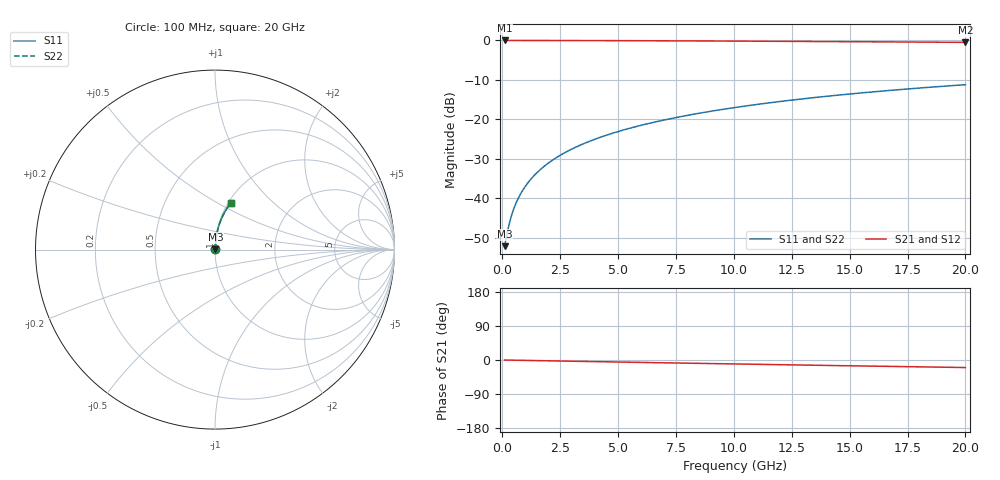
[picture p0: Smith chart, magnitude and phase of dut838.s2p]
! Touchstone file exported from HFSS 2024.1.0
!  File:  C:/UserFiles/LocalFiles/RDL_TSV_Batchsim/temp_RDL_top_838_1779855182.aedt
!  Generated:  12:15:19 PM May 27, 2026
!  Design:  RDL_top
!  Project:  temp_RDL_top_838_1779855182
!  Setup:  Setup1
!  Solution:  Sweep
! Variables:
!  dtsv = 10.80580581um
!  hbump = 3um
!  htsv = 79.31um
!  ldown = 100um
!  lrdl = 182.82um
!  p = 40
!  p1 = 59.27um
!  rhole = 1um
!  t = 450um
!  tdown = 3.915915916um
!  trdl = 3um
!  wdown = 15.38538539um
!  wrdl = 11.77um
# GHz S MA R 50.000000
! Terminal data exported
! Port[1] = Box2_T1
! Port[2] = Box2_T2
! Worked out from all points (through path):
!   200 points, 100 MHz to 20 GHz, reference 50 ohm
!   highest |S21| = -0.02 dB at 100 MHz (marker M1); lowest = -0.5 dB at 20 GHz (marker M2)
!   group delay of S21, straight-line fit = 2.76 ps
!   lowest |S11| = -52.1 dB at 100 MHz (marker M3), VSWR 1.00, Z = 50.2 + j0.144 ohm
!   |S11| at or under -10 dB: start of sweep to end of sweep
!   |S22| runs from -52.1 to -11.2 dB; largest |S21 - S12| = 2.1e-15
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0.1  0.002469 35.4  0.998 -0.1  0.998 -0.1  0.002469 35.4
! Gamma 0 0 0 0
! Port Impedance 50 0 50 0
0.2  0.003508 54.5  0.998 -0.2  0.998 -0.2  0.003508 54.5
0.3  0.004749 64.2  0.9979 -0.3  0.9979 -0.3  0.004749 64.2
0.4  0.006063 69.6  0.9979 -0.4  0.9979 -0.4  0.006063 69.6
0.5  0.007406 73.1  0.9978 -0.6  0.9978 -0.6  0.007406 73.1
0.6  0.008761 75.5  0.9978 -0.7  0.9978 -0.7  0.008761 75.5
0.8  0.01149 78.5  0.9977 -0.9  0.9977 -0.9  0.01149 78.5
1.1  0.0156 81.0  0.9975 -1.2  0.9975 -1.2  0.0156 81.0
1.5  0.02112 82.7  0.9972 -1.6  0.9972 -1.6  0.02112 82.7
1.8  0.02526 83.5  0.997 -2.0  0.997 -2.0  0.02526 83.5
2.1  0.02942 84.0  0.9967 -2.3  0.9967 -2.3  0.02942 84.0
2.7  0.03777 84.5  0.9961 -2.9  0.9961 -2.9  0.03777 84.5
3.5  0.04893 84.6  0.995 -3.8  0.995 -3.8  0.04893 84.6
4.2  0.05874 84.5  0.9939 -4.5  0.9939 -4.5  0.05874 84.5
5  0.06998 84.2  0.9925 -5.4  0.9925 -5.4  0.06998 84.2
5.9  0.08266 83.7  0.9906 -6.3  0.9906 -6.3  0.08266 83.7
6.8  0.09535 83.1  0.9886 -7.2  0.9886 -7.2  0.09535 83.1
8.3  0.1165 81.9  0.9847 -8.7  0.9847 -8.7  0.1165 81.9
10.1  0.1418 80.4  0.9796 -10.5  0.9796 -10.5  0.1418 80.4
13.4  0.1875 77.4  0.969 -13.8  0.969 -13.8  0.1875 77.4
16.7  0.2319 74.3  0.957 -16.9  0.957 -16.9  0.2319 74.3
20  0.2745 71.3  0.9439 -19.9  0.9439 -19.9  0.2745 71.3
